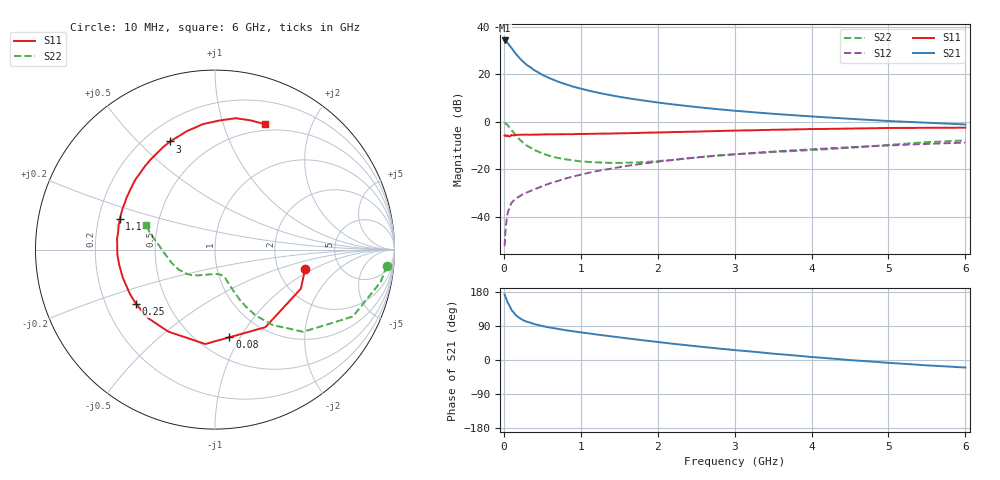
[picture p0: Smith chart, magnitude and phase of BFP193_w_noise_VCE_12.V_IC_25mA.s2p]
! (c) 2017  Infineon Technologies AG, Munich
! Infineon Technologies  Discrete & RF Semiconductors
! BFP193
! VCE =  12. V,  IC =  25 mA
! Common Emitter S-Parameters:  Jan 2017
# GHz  S  MA  R  50
!  f  S11  S21  S12  S22
! GHz  MAG  ANG  MAG  ANG  MAG  ANG  MAG  ANG
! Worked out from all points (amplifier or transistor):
!   77 points, 10 MHz to 6 GHz, reference 50 ohm
!   highest |S21| = 34.3 dB at 10 MHz (marker M1)
!   |S21| within 3 dB of that: start of sweep to 95.14 MHz
!   unconditionally stable (mu >= 1): 851.1 MHz to 2.531 GHz
!   at 130 MHz: K = 0.42, MSG = 31.4 dB, |S12| = -33.1 dB
!   at 2.2 GHz: K = 1.02, MAG = 10.9 dB, |S12| = -16.1 dB
!   at 6 GHz: K = 0.89, MSG = 3.8 dB, |S12| = -8.7 dB
!   lowest NFmin = 1.12 dB at 450 MHz
!   S11 on the Smith chart (normalised r, x): 10 MHz: 2.84, -0.83; 80 MHz: 0.70, -0.90; 250 MHz: 0.33, -0.28; 1.1 GHz: 0.29, +0.14; 3 GHz: 0.30, +0.63; 6 GHz: 0.43, +1.38
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0.01  0.5138 -12.1  51.61 173.0  0.0024 74.8  0.9618 -5.4
0.02  0.5256 -24.5  51.45 167.4  0.0048 82.7  0.9401 -11.1
0.05  0.5155 -57.0  45.72 151.2  0.0119 67.7  0.8536 -25.9
0.08  0.4951 -80.7  39.18 140.7  0.0165 61.7  0.7361 -35.2
0.1  0.529 -95.9  35.78 131.7  0.0197 59.3  0.6715 -43.0
0.15  0.5258 -119.6  27.74 119.3  0.0239 53.3  0.5279 -52.7
0.2  0.5334 -134.3  22.3 111.2  0.0266 52.3  0.431 -58.3
0.25  0.5343 -145.2  18.48 105.1  0.03 52.0  0.3641 -61.4
0.3  0.5347 -152.6  15.68 101.0  0.0325 53.9  0.3143 -63.6
0.4  0.537 -163.2  12.09 94.5  0.0378 56.5  0.2531 -65.9
0.5  0.5405 -171.0  9.757 89.6  0.0441 58.3  0.2158 -67.5
0.6  0.5448 -177.1  8.205 85.6  0.0506 59.2  0.1903 -68.9
0.7  0.545 178.1  7.057 82.2  0.0566 61.1  0.1732 -69.8
0.9  0.5485 169.6  5.511 75.8  0.0701 61.6  0.1541 -73.4
1.1  0.5567 162.4  4.548 70.3  0.0839 61.9  0.1431 -77.7
1.5  0.5713 149.7  3.363 59.8  0.1103 59.3  0.1362 -90.5
2.1  0.6001 132.7  2.433 45.3  0.1505 54.2  0.1529 -113.2
3  0.6522 112.5  1.709 26.1  0.2059 44.5  0.2076 -139.7
3.1  0.6561 110.6  1.659 24.4  0.2116 43.4  0.2116 -142.2
4.1  0.7053 93.8  1.266 6.4  0.2687 32.7  0.2589 -166.4
5.1  0.7416 79.7  1.021 -8.8  0.322 21.5  0.3345 171.5
6  0.7515 68.4  0.879 -19.9  0.3652 11.5  0.4051 160.5
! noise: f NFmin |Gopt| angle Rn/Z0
0.45  1.12  0.3  -176  0.36
0.9  1.19  0.37  -175  0.07
1.9  1.81  0.57  -138  0.16
2.4  2.15  0.62  -122  0.35
